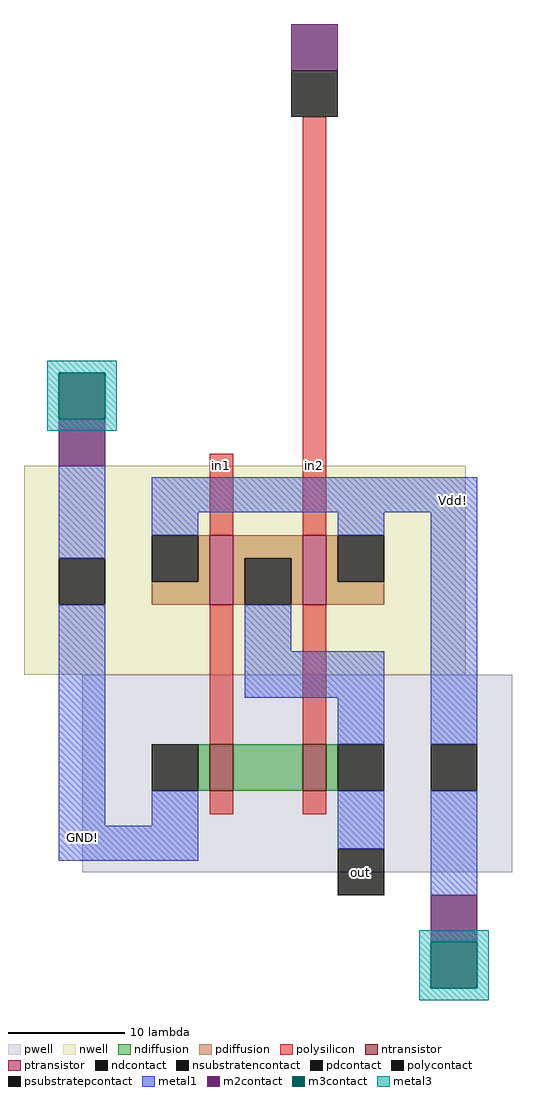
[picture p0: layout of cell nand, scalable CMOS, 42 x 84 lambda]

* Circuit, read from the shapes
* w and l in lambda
.subckt nand GND! Vdd! in1 in2 out
M1 n1 in1 GND! Vdd! nfet w=4 l=2
M2 out in2 n1 Vdd! nfet w=4 l=2
M3 out in1 Vdd! GND! pfet w=6 l=2
M4 Vdd! in2 out GND! pfet w=6 l=2
.ends

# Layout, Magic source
magic
tech scmos
<< nwell >>
rect 53 10 91 28
<< pwell >>
rect 58 -7 95 10
<< ntransistor >>
rect 69 0 71 4
rect 77 0 79 4
<< ptransistor >>
rect 69 16 71 22
rect 77 16 79 22
<< ndiffusion >>
rect 68 0 69 4
rect 71 0 77 4
rect 79 0 80 4
<< pdiffusion >>
rect 68 18 69 22
rect 64 16 69 18
rect 71 20 77 22
rect 71 16 72 20
rect 76 16 77 20
rect 79 18 80 22
rect 79 16 84 18
<< ndcontact >>
rect 64 0 68 4
rect 80 0 84 4
<< pdcontact >>
rect 64 18 68 22
rect 72 16 76 20
rect 80 18 84 22
<< psubstratepcontact >>
rect 88 0 92 4
<< nsubstratencontact >>
rect 56 16 60 20
<< polysilicon >>
rect 69 22 71 29
rect 77 22 79 58
rect 69 4 71 16
rect 77 4 79 16
rect 69 -2 71 0
rect 77 -2 79 0
<< polycontact >>
rect 76 58 80 62
rect 80 -9 84 -5
<< metal1 >>
rect 56 20 60 28
rect 64 24 92 27
rect 64 22 68 24
rect 80 22 84 24
rect 56 -3 60 16
rect 72 12 76 16
rect 72 8 84 12
rect 80 4 84 8
rect 64 -3 68 0
rect 56 -6 68 -3
rect 80 -5 84 0
rect 88 4 92 24
rect 88 -9 92 0
<< m2contact >>
rect 76 62 80 66
rect 56 28 60 32
rect 88 -13 92 -9
<< m3contact >>
rect 56 32 60 36
rect 88 -17 92 -13
<< metal3 >>
rect 55 36 61 37
rect 55 32 56 36
rect 60 32 61 36
rect 55 31 61 32
rect 87 -13 93 -12
rect 87 -17 88 -13
rect 92 -17 93 -13
rect 87 -18 93 -17
<< labels >>
rlabel polysilicon 70 28 70 28 5 in1
rlabel polysilicon 78 28 78 28 5 in2
rlabel metal1 58 -4 58 -4 2 GND!
rlabel metal1 90 25 90 25 6 Vdd!
rlabel polycontact 82 -7 82 -7 1 out
<< end >>
